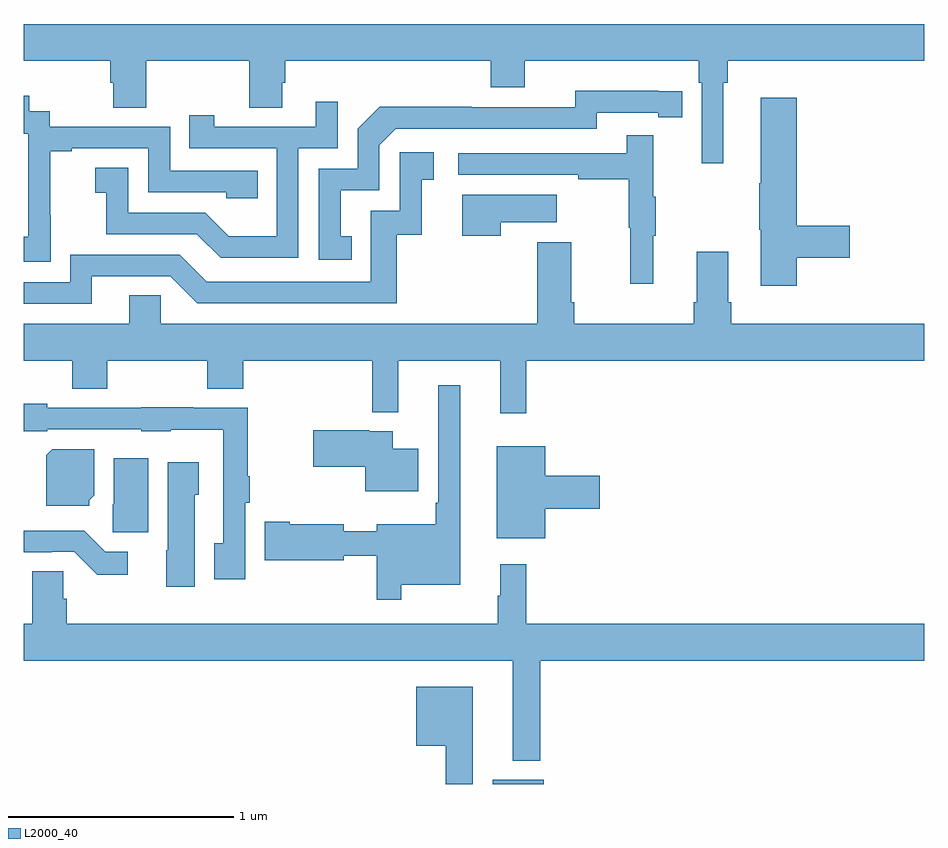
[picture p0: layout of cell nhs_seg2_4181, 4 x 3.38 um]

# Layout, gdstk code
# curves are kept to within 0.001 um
import gdstk
lib = gdstk.Library(unit=1e-6, precision=1e-09)
def R(c, l, rs):  # rectangles x0, y0, x1, y1
    for r in rs: c.add(gdstk.rectangle(r[:2], r[2:], *l))
def P(c, l, *ps):  # polygons
    for p in ps: c.add(gdstk.Polygon(p, *l))
L2000_40 = (2000, 40)

nhs_seg2_4181 = lib.new_cell('nhs_seg2_4181')
R(nhs_seg2_4181, L2000_40, [(339.083,601.8,339.31,601.819)])
P(nhs_seg2_4181, L2000_40, [(337,605.012),(337.385,605.012),(337.385,604.914),(337.397,604.914),(337.397,604.804),(337.545,604.804),(337.545,605.012),(338.002,605.012),(338.002,604.804),(338.149,604.804),(338.149,604.914),(338.162,604.914),(338.162,605.012),(339.074,605.012),(339.074,604.895),(339.226,604.895),(339.226,605.012),(339.998,605.012),(339.998,604.916),(340.011,604.916),(340.011,604.557),(340.108,604.557),(340.108,604.916),(340.127,604.916),(340.127,605.012),(341,605.012),(341,605.176),(337,605.176)],
  [(338.456,604.233),(338.407,604.233),(338.407,604.437),(338.58,604.437),(338.58,604.638),(338.652,604.71),(339.546,604.71),(339.546,604.782),(339.818,604.782),(339.818,604.762),(339.926,604.762),(339.926,604.878),(339.45,604.879),(339.45,604.806),(338.99,604.806),(338.99,604.808),(338.582,604.808),(338.484,604.71),(338.484,604.533),(338.31,604.533),(338.31,604.128),(338.456,604.128)],
  [(337.119,604.327),(337.118,604.327),(337.118,604.611),(337.213,604.611),(337.213,604.623),(337.554,604.623),(337.554,604.428),(337.899,604.428),(337.899,604.401),(338.039,604.401),(338.039,604.524),(337.65,604.524),(337.65,604.719),(337.116,604.719),(337.116,604.788),(337.024,604.788),(337.024,604.858),(337,604.858),(337,604.689),(337.02,604.689),(337.02,604.46),(337.019,604.46),(337.019,604.231),(337,604.231),(337,604.121),(337.119,604.121)],
  [(340.433,604.138),(340.669,604.138),(340.669,604.28),(340.433,604.28),(340.433,604.849),(340.274,604.849),(340.274,604.469),(340.267,604.469),(340.267,604.263),(340.274,604.263),(340.274,604.014),(340.433,604.014)],
  [(338.22,604.623),(338.394,604.623),(338.394,604.831),(338.297,604.831),(338.297,604.719),(337.846,604.719),(337.846,604.771),(337.735,604.771),(337.735,604.623),(338.124,604.623),(338.124,604.234),(337.91,604.234),(337.806,604.338),(337.464,604.338),(337.464,604.537),(337.317,604.537),(337.317,604.427),(337.366,604.427),(337.366,604.242),(337.769,604.242),(337.874,604.137),(338.22,604.137)],
  [(339.797,604.235),(339.808,604.235),(339.808,604.409),(339.797,604.409),(339.797,604.681),(339.679,604.681),(339.679,604.602),(338.931,604.602),(338.931,604.506),(339.463,604.506),(339.463,604.486),(339.687,604.486),(339.687,604.272),(339.694,604.272),(339.694,604.023),(339.797,604.023)],
  [(337.303,604.056),(337.65,604.056),(337.77,603.936),(338.657,603.936),(338.657,604.239),(338.768,604.239),(338.768,604.485),(338.821,604.485),(338.821,604.606),(338.67,604.606),(338.67,604.347),(338.541,604.347),(338.541,604.032),(337.812,604.032),(337.692,604.152),(337.206,604.152),(337.206,604.029),(337,604.029),(337,603.933),(337.303,603.933)],
  [(339.119,604.295),(339.367,604.295),(339.367,604.417),(338.948,604.417),(338.948,604.236),(339.119,604.236)],
  [(339.233,603.68),(341,603.68),(341,603.844),(340.142,603.844),(340.142,603.94),(340.129,603.94),(340.129,604.165),(339.989,604.165),(339.989,603.94),(339.977,603.94),(339.977,603.844),(339.446,603.844),(339.446,603.94),(339.433,603.94),(339.433,604.207),(339.281,604.207),(339.281,603.844),(337.608,603.844),(337.608,603.971),(337.469,603.971),(337.469,603.844),(337,603.844),(337,603.68),(337.216,603.68),(337.216,603.556),(337.371,603.556),(337.371,603.68),(337.816,603.68),(337.816,603.556),(337.976,603.556),(337.976,603.68),(338.549,603.68),(338.549,603.452),(338.663,603.452),(338.663,603.68),(339.116,603.68),(339.116,603.447),(339.233,603.447)],
  [(338.677,602.684),(338.938,602.684),(338.938,603.571),(338.841,603.571),(338.841,603.049),(338.829,603.049),(338.829,602.953),(338.567,602.953),(338.567,602.923),(338.422,602.923),(338.422,602.953),(338.182,602.953),(338.182,602.966),(338.07,602.966),(338.07,602.795),(338.422,602.795),(338.422,602.814),(338.567,602.814),(338.567,602.619),(338.677,602.619)],
  [(337.983,603.049),(338.003,603.049),(338.003,603.168),(337.996,603.168),(337.996,603.471),(337.753,603.471),(337.753,603.473),(337.521,603.473),(337.521,603.471),(337.104,603.471),(337.104,603.49),(337,603.49),(337,603.368),(337.104,603.368),(337.104,603.375),(337.521,603.375),(337.521,603.368),(337.653,603.368),(337.653,603.374),(337.887,603.374),(337.887,602.87),(337.847,602.87),(337.847,602.709),(337.983,602.709)],
  [(338.752,603.289),(338.638,603.289),(338.638,603.367),(338.534,603.367),(338.534,603.372),(338.286,603.372),(338.286,603.209),(338.516,603.209),(338.516,603.101),(338.752,603.101)],
  [(339.316,603.023),(339.559,603.023),(339.559,603.17),(339.316,603.17),(339.316,603.301),(339.101,603.301),(339.101,602.891),(339.316,602.891)],
  [(337.29,603.06),(337.312,603.082),(337.312,603.286),(337.126,603.286),(337.1,603.26),(337.1,603.035),(337.29,603.035)],
  [(337.552,603.247),(337.4,603.247),(337.4,603.042),(337.396,603.042),(337.396,602.919),(337.552,602.919)],
  [(337.759,603.084),(337.777,603.084),(337.777,603.229),(337.64,603.229),(337.64,602.838),(337.634,602.838),(337.634,602.676),(337.759,602.676)],
  [(337.462,602.832),(337.362,602.832),(337.268,602.926),(337,602.926),(337,602.829),(337.124,602.829),(337.124,602.832),(337.224,602.832),(337.327,602.73),(337.462,602.73)],
  [(339.173,601.904),(339.295,601.904),(339.295,602.348),(341,602.348),(341,602.512),(339.233,602.512),(339.233,602.776),(339.116,602.776),(339.116,602.636),(339.105,602.636),(339.105,602.512),(337.19,602.512),(337.19,602.622),(337.176,602.622),(337.176,602.744),(337.037,602.744),(337.037,602.512),(337,602.512),(337,602.348),(339.173,602.348)],
  [(338.995,602.233),(338.744,602.233),(338.744,601.97),(338.874,601.97),(338.874,601.8),(338.995,601.8)])

lib.write_gds('nhs_seg2_4181.gds')
